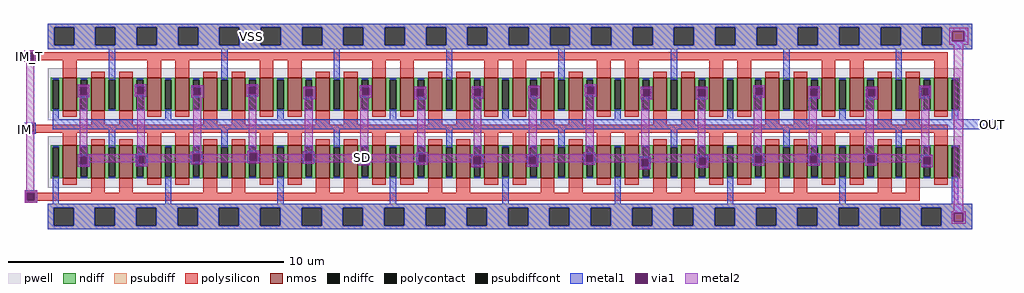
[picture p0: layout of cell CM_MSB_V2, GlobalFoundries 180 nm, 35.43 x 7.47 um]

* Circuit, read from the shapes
.subckt CM_MSB_V2 IM_T VSS OUT IM SD
XM1 SD IM VSS VSS nfet_03v3 w=1.2u l=0.5u m=32
XM2 SD IM_T OUT VSS nfet_03v3 w=1.2u l=0.5u m=32
.ends

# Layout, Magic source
magic
tech gf180mcuC
magscale 1 10
<< psubdiff >>
rect 0 1259 6715 1285
rect 0 1128 48 1259
rect 193 1128 348 1259
rect 493 1128 648 1259
rect 793 1128 948 1259
rect 1093 1128 1248 1259
rect 1393 1128 1548 1259
rect 1693 1128 1848 1259
rect 1993 1128 2148 1259
rect 2293 1128 2448 1259
rect 2593 1128 2748 1259
rect 2893 1128 3048 1259
rect 3193 1128 3348 1259
rect 3493 1128 3648 1259
rect 3793 1128 3948 1259
rect 4093 1128 4248 1259
rect 4393 1128 4548 1259
rect 4693 1128 4848 1259
rect 4993 1128 5148 1259
rect 5293 1128 5448 1259
rect 5593 1128 5748 1259
rect 5893 1128 6048 1259
rect 6193 1128 6348 1259
rect 6493 1128 6715 1259
rect 0 1098 6715 1128
rect 0 -50 6715 -21
rect 0 -181 44 -50
rect 189 -181 344 -50
rect 489 -181 644 -50
rect 789 -181 944 -50
rect 1089 -181 1244 -50
rect 1389 -181 1544 -50
rect 1689 -181 1844 -50
rect 1989 -181 2144 -50
rect 2289 -181 2444 -50
rect 2589 -181 2744 -50
rect 2889 -181 3044 -50
rect 3189 -181 3344 -50
rect 3489 -181 3644 -50
rect 3789 -181 3944 -50
rect 4089 -181 4244 -50
rect 4389 -181 4544 -50
rect 4689 -181 4844 -50
rect 4989 -181 5144 -50
rect 5289 -181 5444 -50
rect 5589 -181 5744 -50
rect 5889 -181 6044 -50
rect 6189 -181 6344 -50
rect 6489 -181 6715 -50
rect 0 -208 6715 -181
<< psubdiffcont >>
rect 48 1128 193 1259
rect 348 1128 493 1259
rect 648 1128 793 1259
rect 948 1128 1093 1259
rect 1248 1128 1393 1259
rect 1548 1128 1693 1259
rect 1848 1128 1993 1259
rect 2148 1128 2293 1259
rect 2448 1128 2593 1259
rect 2748 1128 2893 1259
rect 3048 1128 3193 1259
rect 3348 1128 3493 1259
rect 3648 1128 3793 1259
rect 3948 1128 4093 1259
rect 4248 1128 4393 1259
rect 4548 1128 4693 1259
rect 4848 1128 4993 1259
rect 5148 1128 5293 1259
rect 5448 1128 5593 1259
rect 5748 1128 5893 1259
rect 6048 1128 6193 1259
rect 6348 1128 6493 1259
rect 44 -181 189 -50
rect 344 -181 489 -50
rect 644 -181 789 -50
rect 944 -181 1089 -50
rect 1244 -181 1389 -50
rect 1544 -181 1689 -50
rect 1844 -181 1989 -50
rect 2144 -181 2289 -50
rect 2444 -181 2589 -50
rect 2744 -181 2889 -50
rect 3044 -181 3189 -50
rect 3344 -181 3489 -50
rect 3644 -181 3789 -50
rect 3944 -181 4089 -50
rect 4244 -181 4389 -50
rect 4544 -181 4689 -50
rect 4844 -181 4989 -50
rect 5144 -181 5289 -50
rect 5444 -181 5589 -50
rect 5744 -181 5889 -50
rect 6044 -181 6189 -50
rect 6344 -181 6489 -50
<< polysilicon >>
rect -168 1077 -82 1091
rect -168 1073 6536 1077
rect -168 1024 -150 1073
rect -102 1024 6536 1073
rect -168 1019 6536 1024
rect -168 1008 -82 1019
rect 112 925 212 1019
rect 724 936 824 1019
rect 928 936 1028 1019
rect 1540 936 1640 1019
rect 1744 936 1844 1019
rect 2356 936 2456 1019
rect 2560 936 2660 1019
rect 3172 936 3272 1019
rect 3376 936 3476 1019
rect 3988 936 4088 1019
rect 4192 936 4292 1019
rect 4804 936 4904 1019
rect 5008 936 5108 1019
rect 5620 936 5720 1019
rect 5824 936 5924 1019
rect 6436 936 6536 1019
rect -171 553 -84 566
rect 316 553 416 608
rect 520 553 620 608
rect 1132 553 1232 608
rect 1336 553 1436 608
rect 1948 553 2048 608
rect 2152 553 2252 608
rect 2764 553 2864 608
rect 2968 553 3068 608
rect 3580 553 3680 608
rect 3784 553 3884 608
rect 4396 553 4496 608
rect 4600 553 4700 608
rect 5212 553 5312 608
rect 5416 553 5516 608
rect 6028 553 6128 608
rect 6232 553 6332 608
rect -171 552 6536 553
rect -171 499 -158 552
rect -102 499 6536 552
rect -171 494 6536 499
rect -171 485 -84 494
rect 112 401 212 494
rect 724 445 824 494
rect 928 445 1028 494
rect 1540 445 1640 494
rect 1744 445 1844 494
rect 2356 445 2456 494
rect 2560 445 2660 494
rect 3172 445 3272 494
rect 3376 445 3476 494
rect 3988 445 4088 494
rect 4192 445 4292 494
rect 4804 445 4904 494
rect 5008 445 5108 494
rect 5620 445 5720 494
rect 5824 445 5924 494
rect 6436 445 6536 494
rect -166 58 -74 74
rect 316 58 416 129
rect 520 58 620 117
rect 1132 58 1232 117
rect 1336 58 1436 117
rect 1948 58 2048 117
rect 2152 58 2252 117
rect 2764 58 2864 117
rect 2968 58 3068 117
rect 3580 58 3680 117
rect 3784 58 3884 117
rect 4396 58 4496 117
rect 4600 58 4700 117
rect 5212 58 5312 117
rect 5416 58 5516 117
rect 6028 58 6128 117
rect 6232 58 6332 117
rect -166 53 6332 58
rect -166 2 -150 53
rect -102 2 6332 53
rect -166 -1 6332 2
rect -166 -14 -74 -1
<< polycontact >>
rect -150 1024 -102 1073
rect -158 499 -102 552
rect -150 2 -102 53
<< metal1 >>
rect 0 1259 6715 1285
rect 0 1128 48 1259
rect 193 1128 348 1259
rect 493 1128 648 1259
rect 793 1128 948 1259
rect 1093 1128 1248 1259
rect 1393 1128 1548 1259
rect 1693 1128 1848 1259
rect 1993 1128 2148 1259
rect 2293 1128 2448 1259
rect 2593 1128 2748 1259
rect 2893 1128 3048 1259
rect 3193 1128 3348 1259
rect 3493 1128 3648 1259
rect 3793 1128 3948 1259
rect 4093 1128 4248 1259
rect 4393 1128 4548 1259
rect 4693 1128 4848 1259
rect 4993 1128 5148 1259
rect 5293 1128 5448 1259
rect 5593 1128 5748 1259
rect 5893 1128 6048 1259
rect 6193 1128 6348 1259
rect 6493 1230 6715 1259
rect 6493 1158 6567 1230
rect 6656 1158 6715 1230
rect 6493 1128 6715 1158
rect 0 1098 6715 1128
rect -168 1076 -82 1091
rect -168 1020 -155 1076
rect -99 1020 -82 1076
rect -168 1008 -82 1020
rect 445 890 491 1098
rect 1261 890 1307 1098
rect 2077 890 2123 1098
rect 2893 890 2939 1098
rect 3709 890 3755 1098
rect 4525 890 4571 1098
rect 5341 890 5387 1098
rect 6157 890 6203 1098
rect 219 826 304 843
rect 219 766 233 826
rect 290 766 304 826
rect 219 752 304 766
rect 632 830 717 844
rect 632 771 647 830
rect 702 771 717 830
rect 632 753 717 771
rect 1044 824 1129 838
rect 1044 765 1059 824
rect 1114 765 1129 824
rect 1044 748 1129 765
rect 1444 830 1529 844
rect 1444 771 1459 830
rect 1514 771 1529 830
rect 1444 753 1529 771
rect 1857 812 1942 826
rect 1857 753 1872 812
rect 1927 753 1942 812
rect 1857 735 1942 753
rect 2267 823 2352 837
rect 2267 764 2282 823
rect 2337 764 2352 823
rect 2267 746 2352 764
rect 2664 812 2749 826
rect 2664 753 2679 812
rect 2734 753 2749 812
rect 2664 735 2749 753
rect 3079 817 3164 831
rect 3079 758 3094 817
rect 3149 758 3164 817
rect 3079 740 3164 758
rect 3490 820 3575 834
rect 3490 761 3505 820
rect 3560 761 3575 820
rect 3490 743 3575 761
rect 3900 830 3985 844
rect 3900 771 3915 830
rect 3970 771 3985 830
rect 3900 753 3985 771
rect 4305 812 4390 826
rect 4305 753 4320 812
rect 4375 753 4390 812
rect 4305 735 4390 753
rect 4707 812 4792 826
rect 4707 753 4722 812
rect 4777 753 4792 812
rect 4707 735 4792 753
rect 5123 825 5208 839
rect 5123 766 5138 825
rect 5193 766 5208 825
rect 5123 748 5208 766
rect 5523 817 5608 831
rect 5523 758 5538 817
rect 5593 758 5608 817
rect 5523 740 5608 758
rect 5940 814 6025 828
rect 5940 755 5955 814
rect 6010 755 6025 814
rect 5940 737 6025 755
rect 6328 820 6413 834
rect 6328 761 6343 820
rect 6398 761 6413 820
rect 6328 743 6413 761
rect 37 591 83 654
rect 853 591 899 654
rect 1669 591 1715 654
rect 2485 591 2531 654
rect 3301 591 3347 654
rect 4117 591 4163 654
rect 4933 591 4979 654
rect 5749 591 5795 654
rect 6565 591 6611 654
rect -171 552 -84 566
rect -171 499 -158 552
rect -102 499 -84 552
rect 37 519 6915 591
rect -171 485 -84 499
rect 445 399 491 519
rect 1261 399 1307 519
rect 2077 399 2123 519
rect 2893 399 2939 519
rect 3709 399 3755 519
rect 4525 399 4571 519
rect 5341 399 5387 519
rect 6157 399 6203 519
rect 1038 342 1123 356
rect 221 321 306 338
rect 221 262 235 321
rect 290 262 306 321
rect 221 247 306 262
rect 642 326 727 340
rect 642 267 657 326
rect 712 267 727 326
rect 642 249 727 267
rect 1038 283 1053 342
rect 1108 283 1123 342
rect 1038 265 1123 283
rect 1451 347 1536 361
rect 1451 288 1466 347
rect 1521 288 1536 347
rect 1451 270 1536 288
rect 1851 345 1936 359
rect 1851 286 1866 345
rect 1921 286 1936 345
rect 1851 268 1936 286
rect 2254 335 2339 349
rect 2254 276 2269 335
rect 2324 276 2339 335
rect 2254 258 2339 276
rect 2677 337 2762 351
rect 2677 278 2692 337
rect 2747 278 2762 337
rect 3486 336 3562 338
rect 3892 337 3977 351
rect 2677 260 2762 278
rect 3077 321 3162 335
rect 3077 262 3092 321
rect 3147 262 3162 321
rect 3077 244 3162 262
rect 3479 322 3564 336
rect 3479 263 3494 322
rect 3549 263 3564 322
rect 3479 245 3564 263
rect 3892 278 3907 337
rect 3962 278 3977 337
rect 3892 260 3977 278
rect 4295 306 4380 320
rect 4295 247 4310 306
rect 4365 247 4380 306
rect 4295 229 4380 247
rect 4712 316 4797 330
rect 4712 257 4727 316
rect 4782 257 4797 316
rect 4712 239 4797 257
rect 5120 329 5205 343
rect 5120 270 5135 329
rect 5190 270 5205 329
rect 5120 252 5205 270
rect 5520 331 5605 345
rect 5520 272 5535 331
rect 5590 272 5605 331
rect 5520 254 5605 272
rect 5935 332 6020 346
rect 5935 273 5950 332
rect 6005 273 6020 332
rect 5935 255 6020 273
rect 6343 319 6428 333
rect 6343 260 6358 319
rect 6413 260 6428 319
rect 6343 242 6428 260
rect -166 58 -74 74
rect -166 1 -151 58
rect -94 1 -74 58
rect -166 -14 -74 1
rect 37 -21 83 163
rect 853 -21 899 163
rect 1669 -21 1715 163
rect 2485 -21 2531 163
rect 3301 -21 3347 163
rect 4117 -21 4163 163
rect 4933 -21 4979 163
rect 5749 -21 5795 163
rect 6565 -21 6611 163
rect 0 -50 6715 -21
rect 0 -181 44 -50
rect 189 -181 344 -50
rect 489 -181 644 -50
rect 789 -181 944 -50
rect 1089 -181 1244 -50
rect 1389 -181 1544 -50
rect 1689 -181 1844 -50
rect 1989 -181 2144 -50
rect 2289 -181 2444 -50
rect 2589 -181 2744 -50
rect 2889 -181 3044 -50
rect 3189 -181 3344 -50
rect 3489 -181 3644 -50
rect 3789 -181 3944 -50
rect 4089 -181 4244 -50
rect 4389 -181 4544 -50
rect 4689 -181 4844 -50
rect 4989 -181 5144 -50
rect 5289 -181 5444 -50
rect 5589 -181 5744 -50
rect 5889 -181 6044 -50
rect 6189 -181 6344 -50
rect 6489 -86 6715 -50
rect 6489 -153 6581 -86
rect 6648 -153 6715 -86
rect 6489 -181 6715 -153
rect 0 -208 6715 -181
<< via1 >>
rect 6567 1158 6656 1230
rect -155 1073 -99 1076
rect -155 1024 -150 1073
rect -150 1024 -102 1073
rect -102 1024 -99 1073
rect -155 1020 -99 1024
rect 233 766 290 826
rect 647 771 702 830
rect 1059 765 1114 824
rect 1459 771 1514 830
rect 1872 753 1927 812
rect 2282 764 2337 823
rect 2679 753 2734 812
rect 3094 758 3149 817
rect 3505 761 3560 820
rect 3915 771 3970 830
rect 4320 753 4375 812
rect 4722 753 4777 812
rect 5138 766 5193 825
rect 5538 758 5593 817
rect 5955 755 6010 814
rect 6343 761 6398 820
rect 235 262 290 321
rect 657 267 712 326
rect 1053 283 1108 342
rect 1466 288 1521 347
rect 1866 286 1921 345
rect 2269 276 2324 335
rect 2692 278 2747 337
rect 3092 262 3147 321
rect 3494 263 3549 322
rect 3907 278 3962 337
rect 4310 247 4365 306
rect 4727 257 4782 316
rect 5135 270 5190 329
rect 5535 272 5590 331
rect 5950 273 6005 332
rect 6358 260 6413 319
rect -151 53 -94 58
rect -151 2 -150 53
rect -150 2 -102 53
rect -102 2 -94 53
rect -151 1 -94 2
rect 6581 -153 6648 -86
<< metal2 >>
rect 6547 1230 6686 1257
rect 6547 1158 6567 1230
rect 6656 1158 6686 1230
rect 6547 1133 6686 1158
rect -168 1076 -82 1091
rect -168 1020 -155 1076
rect -99 1020 -82 1076
rect -168 1008 -82 1020
rect -156 74 -98 1008
rect 219 826 304 843
rect 219 766 233 826
rect 290 766 304 826
rect 219 752 304 766
rect 632 830 717 844
rect 632 771 647 830
rect 702 771 717 830
rect 632 753 717 771
rect 1044 824 1129 838
rect 1044 765 1059 824
rect 1114 765 1129 824
rect 233 338 290 752
rect 650 340 707 753
rect 1044 748 1129 765
rect 1444 830 1529 844
rect 1444 771 1459 830
rect 1514 771 1529 830
rect 1444 753 1529 771
rect 1857 812 1942 826
rect 1857 753 1872 812
rect 1927 753 1942 812
rect 1058 356 1115 748
rect 1459 361 1516 753
rect 1857 735 1942 753
rect 2267 823 2352 837
rect 2267 764 2282 823
rect 2337 764 2352 823
rect 2267 746 2352 764
rect 2664 812 2749 826
rect 2664 753 2679 812
rect 2734 753 2749 812
rect 1038 342 1123 356
rect 221 336 306 338
rect 642 336 727 340
rect 1038 336 1053 342
rect 221 326 1053 336
rect 221 321 657 326
rect 221 262 235 321
rect 290 279 657 321
rect 290 262 306 279
rect 221 247 306 262
rect 642 267 657 279
rect 712 283 1053 326
rect 1108 336 1123 342
rect 1451 347 1536 361
rect 1867 359 1924 735
rect 1451 336 1466 347
rect 1108 288 1466 336
rect 1521 336 1536 347
rect 1851 345 1936 359
rect 2270 349 2327 746
rect 2664 735 2749 753
rect 3079 817 3164 831
rect 3079 758 3094 817
rect 3149 758 3164 817
rect 3079 740 3164 758
rect 3490 820 3575 834
rect 3490 761 3505 820
rect 3560 761 3575 820
rect 3490 743 3575 761
rect 3900 830 3985 844
rect 3900 771 3915 830
rect 3970 771 3985 830
rect 3900 753 3985 771
rect 4305 812 4390 826
rect 4305 753 4320 812
rect 4375 753 4390 812
rect 2684 351 2741 735
rect 1851 336 1866 345
rect 1521 288 1866 336
rect 1108 286 1866 288
rect 1921 336 1936 345
rect 2254 336 2339 349
rect 2677 337 2762 351
rect 2677 336 2692 337
rect 1921 335 2692 336
rect 1921 286 2269 335
rect 1108 283 2269 286
rect 712 279 2269 283
rect 712 267 727 279
rect 642 249 727 267
rect 1038 265 1123 279
rect 1451 270 1536 279
rect 1851 268 1936 279
rect 2254 276 2269 279
rect 2324 279 2692 335
rect 2324 276 2339 279
rect 2254 258 2339 276
rect 2677 278 2692 279
rect 2747 336 2762 337
rect 3093 336 3150 740
rect 3495 336 3552 743
rect 3909 351 3966 753
rect 4305 735 4390 753
rect 4707 812 4792 826
rect 4707 753 4722 812
rect 4777 753 4792 812
rect 4707 735 4792 753
rect 5123 825 5208 839
rect 5123 766 5138 825
rect 5193 766 5208 825
rect 5123 748 5208 766
rect 5523 817 5608 831
rect 5523 758 5538 817
rect 5593 758 5608 817
rect 3892 337 3977 351
rect 3892 336 3907 337
rect 2747 322 3907 336
rect 2747 321 3494 322
rect 2747 279 3092 321
rect 2747 278 2762 279
rect 2677 260 2762 278
rect 3077 262 3092 279
rect 3147 279 3494 321
rect 3147 262 3162 279
rect 3077 244 3162 262
rect 3479 263 3494 279
rect 3549 279 3907 322
rect 3549 263 3564 279
rect 3479 245 3564 263
rect 3892 278 3907 279
rect 3962 336 3977 337
rect 4311 336 4368 735
rect 4719 336 4776 735
rect 5128 343 5185 748
rect 5523 740 5608 758
rect 5940 814 6025 828
rect 5940 755 5955 814
rect 6010 755 6025 814
rect 5526 345 5583 740
rect 5940 737 6025 755
rect 6328 820 6413 834
rect 6328 761 6343 820
rect 6398 761 6413 820
rect 6328 743 6413 761
rect 5942 346 5999 737
rect 5120 336 5205 343
rect 5520 336 5605 345
rect 5935 336 6020 346
rect 6345 336 6402 743
rect 3962 333 6402 336
rect 3962 332 6428 333
rect 3962 331 5950 332
rect 3962 329 5535 331
rect 3962 316 5135 329
rect 3962 306 4727 316
rect 3962 279 4310 306
rect 3962 278 3977 279
rect 3892 260 3977 278
rect 4295 247 4310 279
rect 4365 279 4727 306
rect 4365 247 4380 279
rect 4295 229 4380 247
rect 4712 257 4727 279
rect 4782 279 5135 316
rect 4782 257 4797 279
rect 4712 239 4797 257
rect 5120 270 5135 279
rect 5190 279 5535 329
rect 5190 270 5205 279
rect 5120 252 5205 270
rect 5520 272 5535 279
rect 5590 279 5950 331
rect 5590 272 5605 279
rect 5520 254 5605 272
rect 5935 273 5950 279
rect 6005 319 6428 332
rect 6005 279 6358 319
rect 6005 273 6020 279
rect 5935 255 6020 273
rect 6343 260 6358 279
rect 6413 260 6428 319
rect 6343 242 6428 260
rect -166 58 -74 74
rect -166 1 -151 58
rect -94 1 -74 58
rect -166 -14 -74 1
rect 6581 -75 6648 1133
rect 6564 -86 6667 -75
rect 6564 -153 6581 -86
rect 6648 -153 6667 -86
rect 6564 -168 6667 -153
use nmos_3p3_LNPLVM  nmos_3p3_LNPLVM_0
transform 1 0 3324 0 1 772
box -3324 -188 3324 188
use nmos_3p3_LNPLVM  nmos_3p3_LNPLVM_1
transform 1 0 3324 0 1 281
box -3324 -188 3324 188
<< labels >>
flabel via1 -133 1049 -133 1049 0 FreeSans 1600 0 0 0 IM_T
port 0 nsew
flabel metal1 1480 1192 1480 1192 0 FreeSans 1600 0 0 0 VSS
port 2 nsew
flabel metal1 6857 556 6857 556 0 FreeSans 1600 0 0 0 OUT
port 3 nsew
flabel metal1 -164 520 -164 520 0 FreeSans 1600 0 0 0 IM
port 4 nsew
flabel via1 2290 310 2290 310 0 FreeSans 1600 0 0 0 SD
port 5 nsew
<< end >>

# cell nmos_3p3_LNPLVM: kit device nmos_3p3, w 1.2 l 0.5 m 1 nf 32 diffcov 100 polycov 100 guard 0 glc 0 grc 0 gtc 0 gbc 0 tbcov 100 rlcov 100 topc 0 botc 0 poverlap 0 doverlap 1 lmin 0.28 wmin 0.22 full_metal 0 compatible {nmos_3p3 nmos_6p0 nmos_6p0_nat}
